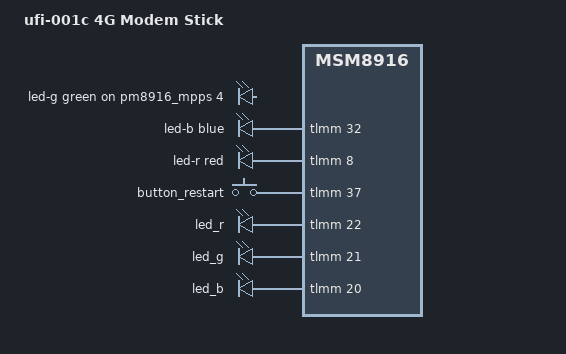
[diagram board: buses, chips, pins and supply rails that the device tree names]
// SPDX-License-Identifier: GPL-2.0-only

/dts-v1/;

#include "msm8916-ufi.dtsi"

/ {
	model = "ufi-001c 4G Modem Stick";
	compatible = "thwc,ufi001c", "qcom,msm8916";
	leds: leds {
		sim_sel {
			label = "sim:sel";
			gpios = <&tlmm 2 GPIO_ACTIVE_HIGH>;
			default-state = "on";
		};

		sim_en {
			label = "sim:en";
			gpios = <&tlmm 1 GPIO_ACTIVE_HIGH>;
			default-state = "off";
		};

		sim_sel2 {
			label = "sim:sel2";
			gpios = <&tlmm 0 GPIO_ACTIVE_HIGH>;
			default-state = "off";
		};

		sim_en2 {
			label = "sim:en2";
			gpios = <&tlmm 3 GPIO_ACTIVE_HIGH>;
			default-state = "off";
		};
	};
};


&button_restart {
	gpios = <&tlmm 37 GPIO_ACTIVE_HIGH>;
};

&led_r {
	gpios = <&tlmm 22 GPIO_ACTIVE_HIGH>;
};

&led_g {
	gpios = <&tlmm 21 GPIO_ACTIVE_HIGH>;
};

&led_b {
	gpios = <&tlmm 20 GPIO_ACTIVE_HIGH>;
};

&mpss {
	pinctrl-0 = <&sim_ctrl_default>;
	pinctrl-names = "default";
};

&button_default {
	pins = "gpio37";
	bias-pull-down;
};

&gpio_leds_default {
	pins = "gpio0","gpio1","gpio2","gpio3","gpio20", "gpio21", "gpio22";
};

/* This selects the external SIM card slot by default */
&tlmm {
	sim_ctrl_default: sim-ctrl-default-state {
		esim-sel-pins {
			pins = "gpio0", "gpio3";
			bias-disable;
			output-low;
		};

		sim-en-pins {
			pins = "gpio1";
			bias-disable;
			output-low;
		};

		sim-sel-pins {
			pins = "gpio2";
			bias-disable;
			output-high;
		};
	};
};

/*
 * UFI-16-V3 LED mapping:
 *   red   -> TLMM GPIO8
 *   green -> PM8916 MPP4
 *   blue  -> TLMM GPIO32
 */
&leds {
	status = "disabled";
};

/ {
	user-leds {
		compatible = "gpio-leds";
		pinctrl-names = "default";
		pinctrl-0 = <&user_leds_default>;

		led-g {
			gpios = <&pm8916_mpps 4 GPIO_ACTIVE_HIGH>;
			function = LED_FUNCTION_WLAN;
			color = <LED_COLOR_ID_GREEN>;
			default-state = "off";
		};

		led-b {
			gpios = <&tlmm 32 GPIO_ACTIVE_HIGH>;
			function = LED_FUNCTION_WAN;
			color = <LED_COLOR_ID_BLUE>;
			default-state = "off";
		};

		led-r {
			gpios = <&tlmm 8 GPIO_ACTIVE_HIGH>;
			function = LED_FUNCTION_POWER;
			color = <LED_COLOR_ID_RED>;
			default-state = "on";
		};
	};
};

&tlmm {
	user_leds_default: user-leds-default-state {
		pins = "gpio8", "gpio32";
		function = "gpio";
		drive-strength = <2>;
		bias-disable;
	};
};
